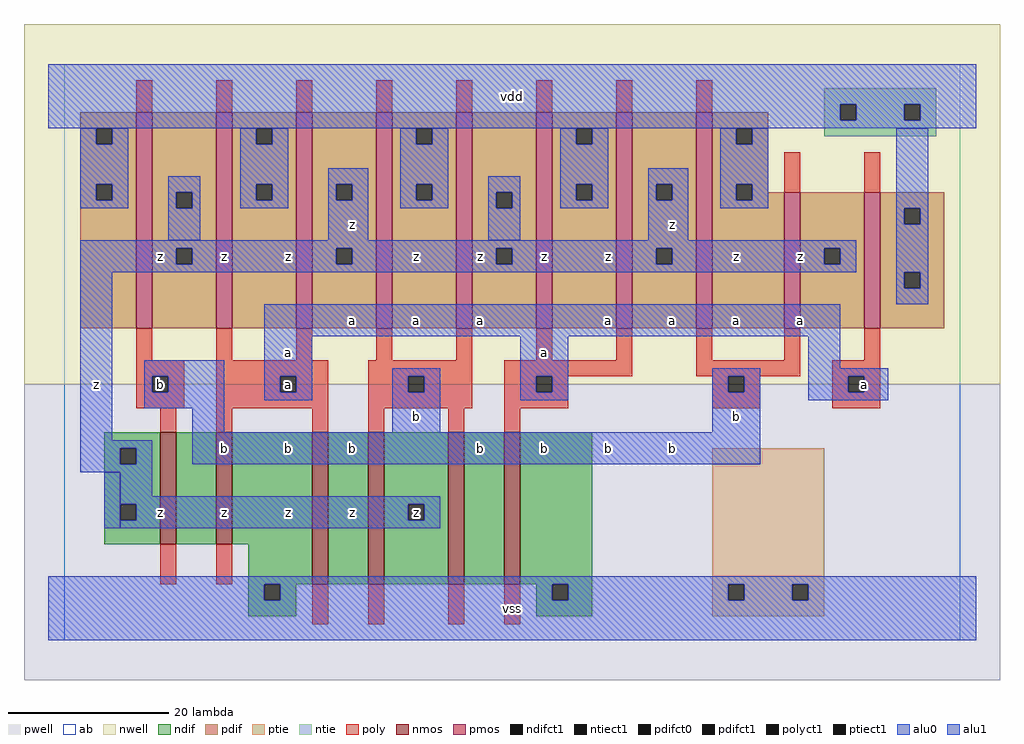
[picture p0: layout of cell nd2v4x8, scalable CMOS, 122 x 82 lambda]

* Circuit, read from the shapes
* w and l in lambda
.subckt nd2v4x8 a b vdd vss z
M1 n1 b z vss nfet w=14 l=2
M2 vss a n1 vss nfet w=14 l=2
M3 n2 a vss vss nfet w=19 l=2
M4 z b n2 vss nfet w=19 l=2
M5 n3 b z vss nfet w=19 l=2
M6 vss a n3 vss nfet w=19 l=2
M7 z b vdd vdd pfet w=27 l=2 m=4
M8 vdd a z vdd pfet w=27 l=2 m=4
M9 z b vdd vdd pfet w=17 l=2
M10 vdd a z vdd pfet w=17 l=2
.ends

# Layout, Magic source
magic
tech scmos
<< ab >>
rect 0 0 112 72
<< nwell >>
rect -5 32 117 77
<< pwell >>
rect -5 -5 117 32
<< poly >>
rect 9 66 11 70
rect 19 66 21 70
rect 29 66 31 70
rect 39 66 41 70
rect 49 66 51 70
rect 59 66 61 70
rect 69 66 71 70
rect 79 66 81 70
rect 90 56 92 61
rect 100 56 102 61
rect 9 35 11 39
rect 19 35 21 39
rect 29 35 31 39
rect 39 35 41 39
rect 49 35 51 39
rect 59 35 61 39
rect 69 35 71 39
rect 9 33 15 35
rect 9 31 11 33
rect 13 31 15 33
rect 9 29 15 31
rect 19 33 33 35
rect 19 31 27 33
rect 29 31 33 33
rect 19 29 33 31
rect 12 26 14 29
rect 19 26 21 29
rect 31 26 33 29
rect 38 33 51 35
rect 38 31 43 33
rect 45 31 51 33
rect 38 29 51 31
rect 55 33 71 35
rect 79 35 81 39
rect 90 35 92 39
rect 100 35 102 39
rect 79 33 92 35
rect 96 33 102 35
rect 55 31 59 33
rect 61 31 63 33
rect 55 29 63 31
rect 81 31 83 33
rect 85 31 87 33
rect 81 29 87 31
rect 96 31 98 33
rect 100 31 102 33
rect 96 29 102 31
rect 38 26 40 29
rect 48 26 50 29
rect 55 26 57 29
rect 12 7 14 12
rect 19 7 21 12
rect 31 2 33 7
rect 38 2 40 7
rect 48 2 50 7
rect 55 2 57 7
<< ndif >>
rect 5 24 12 26
rect 5 22 7 24
rect 9 22 12 24
rect 5 17 12 22
rect 5 15 7 17
rect 9 15 12 17
rect 5 12 12 15
rect 14 12 19 26
rect 21 12 31 26
rect 23 7 31 12
rect 33 7 38 26
rect 40 17 48 26
rect 40 15 43 17
rect 45 15 48 17
rect 40 7 48 15
rect 50 7 55 26
rect 57 7 66 26
rect 23 5 25 7
rect 27 5 29 7
rect 23 3 29 5
rect 59 5 61 7
rect 63 5 66 7
rect 59 3 66 5
<< pdif >>
rect 2 64 9 66
rect 2 62 4 64
rect 6 62 9 64
rect 2 57 9 62
rect 2 55 4 57
rect 6 55 9 57
rect 2 39 9 55
rect 11 56 19 66
rect 11 54 14 56
rect 16 54 19 56
rect 11 49 19 54
rect 11 47 14 49
rect 16 47 19 49
rect 11 39 19 47
rect 21 64 29 66
rect 21 62 24 64
rect 26 62 29 64
rect 21 57 29 62
rect 21 55 24 57
rect 26 55 29 57
rect 21 39 29 55
rect 31 57 39 66
rect 31 55 34 57
rect 36 55 39 57
rect 31 49 39 55
rect 31 47 34 49
rect 36 47 39 49
rect 31 39 39 47
rect 41 64 49 66
rect 41 62 44 64
rect 46 62 49 64
rect 41 57 49 62
rect 41 55 44 57
rect 46 55 49 57
rect 41 39 49 55
rect 51 56 59 66
rect 51 54 54 56
rect 56 54 59 56
rect 51 49 59 54
rect 51 47 54 49
rect 56 47 59 49
rect 51 39 59 47
rect 61 64 69 66
rect 61 62 64 64
rect 66 62 69 64
rect 61 57 69 62
rect 61 55 64 57
rect 66 55 69 57
rect 61 39 69 55
rect 71 57 79 66
rect 71 55 74 57
rect 76 55 79 57
rect 71 49 79 55
rect 71 47 74 49
rect 76 47 79 49
rect 71 39 79 47
rect 81 64 88 66
rect 81 62 84 64
rect 86 62 88 64
rect 81 57 88 62
rect 81 55 84 57
rect 86 56 88 57
rect 86 55 90 56
rect 81 39 90 55
rect 92 49 100 56
rect 92 47 95 49
rect 97 47 100 49
rect 92 39 100 47
rect 102 54 110 56
rect 102 52 105 54
rect 107 52 110 54
rect 102 46 110 52
rect 102 44 105 46
rect 107 44 110 46
rect 102 39 110 44
<< alu1 >>
rect -2 67 114 72
rect -2 65 97 67
rect 99 65 105 67
rect 107 65 114 67
rect -2 64 114 65
rect 33 57 38 59
rect 33 55 34 57
rect 36 55 38 57
rect 33 50 38 55
rect 73 57 78 59
rect 73 55 74 57
rect 76 55 78 57
rect 73 50 78 55
rect 2 49 99 50
rect 2 47 14 49
rect 16 47 34 49
rect 36 47 54 49
rect 56 47 74 49
rect 76 47 95 49
rect 97 47 99 49
rect 2 46 99 47
rect 2 25 6 46
rect 25 38 97 42
rect 10 33 20 35
rect 10 31 11 33
rect 13 31 20 33
rect 10 29 20 31
rect 25 33 31 38
rect 25 31 27 33
rect 29 31 31 33
rect 25 30 31 31
rect 41 33 47 34
rect 41 31 43 33
rect 45 31 47 33
rect 16 26 20 29
rect 41 26 47 31
rect 57 33 63 38
rect 93 34 97 38
rect 57 31 59 33
rect 61 31 63 33
rect 57 30 63 31
rect 81 33 87 34
rect 81 31 83 33
rect 85 31 87 33
rect 81 26 87 31
rect 93 33 103 34
rect 93 31 98 33
rect 100 31 103 33
rect 93 30 103 31
rect 2 24 11 25
rect 2 22 7 24
rect 9 22 11 24
rect 16 22 87 26
rect 2 21 11 22
rect 7 18 11 21
rect 7 17 47 18
rect 9 15 43 17
rect 45 15 47 17
rect 7 14 47 15
rect -2 7 114 8
rect -2 5 25 7
rect 27 5 61 7
rect 63 5 83 7
rect 85 5 91 7
rect 93 5 114 7
rect -2 0 114 5
<< ptie >>
rect 81 7 95 24
rect 81 5 83 7
rect 85 5 91 7
rect 93 5 95 7
rect 81 3 95 5
<< ntie >>
rect 95 67 109 69
rect 95 65 97 67
rect 99 65 105 67
rect 107 65 109 67
rect 95 63 109 65
<< nmos >>
rect 12 12 14 26
rect 19 12 21 26
rect 31 7 33 26
rect 38 7 40 26
rect 48 7 50 26
rect 55 7 57 26
<< pmos >>
rect 9 39 11 66
rect 19 39 21 66
rect 29 39 31 66
rect 39 39 41 66
rect 49 39 51 66
rect 59 39 61 66
rect 69 39 71 66
rect 79 39 81 66
rect 90 39 92 56
rect 100 39 102 56
<< polyct1 >>
rect 11 31 13 33
rect 27 31 29 33
rect 43 31 45 33
rect 59 31 61 33
rect 83 31 85 33
rect 98 31 100 33
<< ndifct1 >>
rect 7 22 9 24
rect 7 15 9 17
rect 43 15 45 17
rect 25 5 27 7
rect 61 5 63 7
<< ntiect1 >>
rect 97 65 99 67
rect 105 65 107 67
<< ptiect1 >>
rect 83 5 85 7
rect 91 5 93 7
<< pdifct0 >>
rect 4 62 6 64
rect 4 55 6 57
rect 14 54 16 56
rect 24 62 26 64
rect 24 55 26 57
rect 44 62 46 64
rect 44 55 46 57
rect 54 54 56 56
rect 64 62 66 64
rect 64 55 66 57
rect 84 62 86 64
rect 84 55 86 57
rect 105 52 107 54
rect 105 44 107 46
<< pdifct1 >>
rect 14 47 16 49
rect 34 55 36 57
rect 34 47 36 49
rect 54 47 56 49
rect 74 55 76 57
rect 74 47 76 49
rect 95 47 97 49
<< alu0 >>
rect 2 62 4 64
rect 6 62 8 64
rect 2 57 8 62
rect 22 62 24 64
rect 26 62 28 64
rect 2 55 4 57
rect 6 55 8 57
rect 2 54 8 55
rect 13 56 17 58
rect 13 54 14 56
rect 16 54 17 56
rect 22 57 28 62
rect 42 62 44 64
rect 46 62 48 64
rect 22 55 24 57
rect 26 55 28 57
rect 22 54 28 55
rect 13 50 17 54
rect 42 57 48 62
rect 62 62 64 64
rect 66 62 68 64
rect 42 55 44 57
rect 46 55 48 57
rect 42 54 48 55
rect 53 56 57 58
rect 53 54 54 56
rect 56 54 57 56
rect 62 57 68 62
rect 82 62 84 64
rect 86 62 88 64
rect 62 55 64 57
rect 66 55 68 57
rect 62 54 68 55
rect 53 50 57 54
rect 82 57 88 62
rect 82 55 84 57
rect 86 55 88 57
rect 82 54 88 55
rect 104 54 108 64
rect 104 52 105 54
rect 107 52 108 54
rect 104 46 108 52
rect 104 44 105 46
rect 107 44 108 46
rect 104 42 108 44
rect 5 14 7 21
<< labels >>
rlabel alu1 12 16 12 16 6 z
rlabel polyct1 12 32 12 32 6 b
rlabel alu1 4 32 4 32 6 z
rlabel alu1 12 48 12 48 6 z
rlabel alu1 28 16 28 16 6 z
rlabel alu1 36 16 36 16 6 z
rlabel alu1 20 16 20 16 6 z
rlabel alu1 20 24 20 24 6 b
rlabel alu1 28 24 28 24 6 b
rlabel alu1 36 24 36 24 6 b
rlabel polyct1 28 32 28 32 6 a
rlabel alu1 36 40 36 40 6 a
rlabel alu1 28 36 28 36 6 a
rlabel alu1 20 48 20 48 6 z
rlabel alu1 36 52 36 52 6 z
rlabel alu1 28 48 28 48 6 z
rlabel alu1 56 4 56 4 6 vss
rlabel ndifct1 44 16 44 16 6 z
rlabel alu1 52 24 52 24 6 b
rlabel alu1 60 24 60 24 6 b
rlabel alu1 44 28 44 28 6 b
rlabel alu1 44 40 44 40 6 a
rlabel alu1 52 40 52 40 6 a
rlabel alu1 60 36 60 36 6 a
rlabel alu1 44 48 44 48 6 z
rlabel alu1 52 48 52 48 6 z
rlabel alu1 60 48 60 48 6 z
rlabel alu1 56 68 56 68 6 vdd
rlabel alu1 68 24 68 24 6 b
rlabel alu1 76 24 76 24 6 b
rlabel alu1 84 28 84 28 6 b
rlabel alu1 68 40 68 40 6 a
rlabel alu1 76 40 76 40 6 a
rlabel alu1 84 40 84 40 6 a
rlabel alu1 68 48 68 48 6 z
rlabel alu1 76 52 76 52 6 z
rlabel alu1 84 48 84 48 6 z
rlabel alu1 100 32 100 32 6 a
rlabel alu1 92 40 92 40 6 a
rlabel alu1 92 48 92 48 6 z
<< end >>
